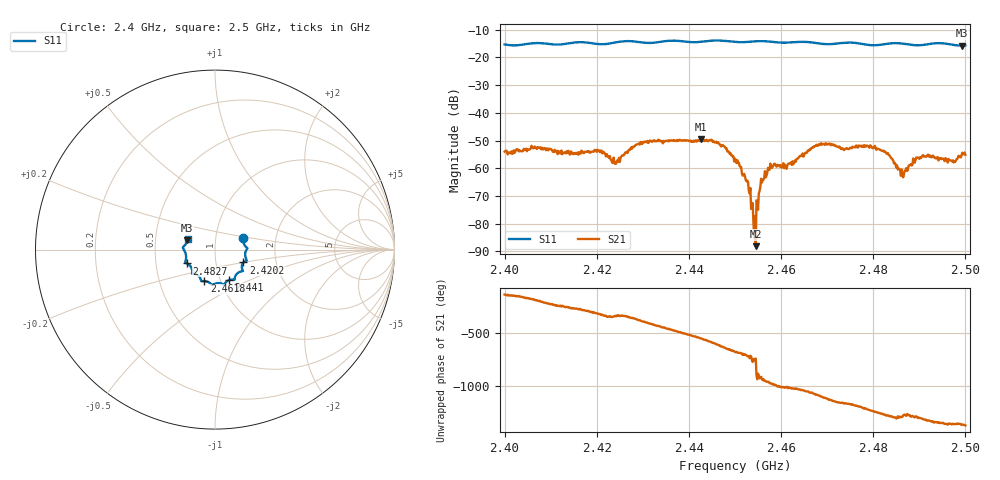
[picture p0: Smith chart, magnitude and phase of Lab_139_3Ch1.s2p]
# Hz S RI R 50
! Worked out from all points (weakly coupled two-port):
!   601 points, 2.4 GHz to 2.5 GHz, reference 50 ohm
!   highest |S21| = -49.52 dB at 2.4427 GHz (marker M1); lowest = -88.1 dB at 2.4545 GHz (marker M2)
!   lowest |S11| = -15.8 dB at 2.4993 GHz (marker M3), VSWR 1.39, Z = 36.5 + j3.83 ohm
!   |S11| at or under -10 dB: start of sweep to end of sweep
!   S12 and S22 are empty: the file has one direction only
!   S11 on the Smith chart (normalised r, x): 2.4 GHz: 1.36, +0.18; 2.4202 GHz: 1.36, -0.20; 2.441 GHz: 1.10, -0.39; 2.4618 GHz: 0.84, -0.30; 2.4827 GHz: 0.72, -0.12; 2.5 GHz: 0.73, +0.09
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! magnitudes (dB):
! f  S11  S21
! 2.4 GHz  -15.4  -54.0
! 2.4167 GHz  -14.5  -53.7
! 2.4202 GHz  -15.2  -53.4
! 2.4238 GHz  -14.7  -58.0
! 2.4333 GHz  -14.5  -49.7
! 2.441 GHz  -14.5  -50.0
! 2.4427 GHz  -14.4  -49.5
! 2.4477 GHz  -14.1  -52.1
! 2.45 GHz  -14.4  -56.6
! 2.4523 GHz  -14.5  -64.2
! 2.454 GHz  -14.3  -79.4
! 2.4545 GHz  -14.2  -88.1
! 2.4557 GHz  -14.2  -63.8
! 2.4573 GHz  -14.3  -60.4
! 2.4618 GHz  -14.6  -58.3
! 2.4667 GHz  -14.6  -52.7
! 2.4827 GHz  -15.2  -54.1
! 2.4833 GHz  -15.0  -55.2
! 2.4865 GHz  -15.1  -63.3
! 2.4898 GHz  -15.7  -56.2
! 2.4993 GHz  -15.8  -54.4
! 2.5 GHz  -15.7  -55.2
